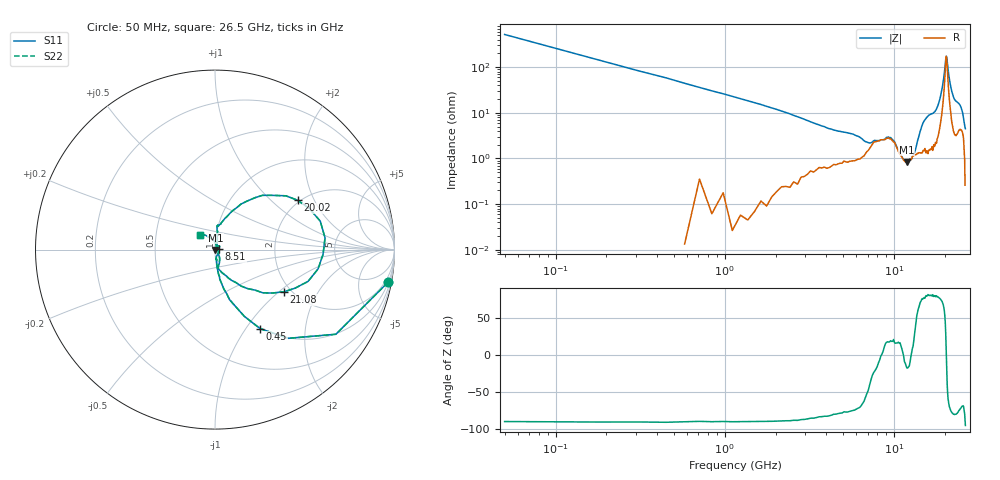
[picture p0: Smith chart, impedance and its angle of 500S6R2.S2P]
!  American Technical Ceramics  Date:  3/6/98
!  One Norden Lane
!  Huntington Station,  NY.  11746-2102
!  Tel:  (516) 547-5700  Fax:  (516) 547-5748
!  Part Number  500S6R2
!  Description: Broadband Microwave capacitor
!  Application:
# GHZ S DB R 50
! Freq  |S11|  S11 Ph  |S21|  S21 Ph  |S12|  S12 Ph  |S22|  S22 Ph
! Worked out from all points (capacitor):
!   201 points, 50 MHz to 26.5 GHz, reference 50 ohm
!   read as one part in series: C = 6.14 pF near 180 MHz
!   lowest |Z| = 833 mohm at 11.95 GHz (marker M1)
!   series resonance near 8.456 GHz, so ESL is about 58 pH
!   S11 on the Smith chart (normalised r, x): 50 MHz: 1, -11; 450 MHz: 0.98, -1.17; 8.51 GHz: 1.05, +0.00; 20.02 GHz: 1.94, +1.50; 21.08 GHz: 1.84, -1.08; 26.5 GHz: 0.83, +0.14
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0.05  -0.17 -10.7  -14.50 79.0  -14.50 79.0  -0.17 -10.7
0.18  -1.70 -35.0  -4.87 55.4  -4.87 55.4  -1.70 -35.0
0.45  -5.90 -60.3  -1.24 30.4  -1.24 30.4  -5.90 -60.3
2.17  -19.10 -82.4  -0.07 6.1  -0.07 6.1  -19.10 -82.4
4.55  -25.43 -81.3  -0.08 1.5  -0.08 1.5  -25.43 -81.3
8.51  -32.39 3.3  -0.23 0.0  -0.23 0.0  -32.39 3.3
8.91  -31.11 26.6  -0.23 -0.0  -0.23 -0.0  -31.11 26.6
10.37  -33.27 55.2  -0.20 0.5  -0.20 0.5  -33.27 55.2
11.29  -42.12 69.2  -0.15 0.3  -0.15 0.3  -42.12 69.2
11.69  -54.15 21.5  -0.13 0.2  -0.13 0.2  -54.15 21.5
11.95  -49.40 -52.7  -0.12 0.1  -0.12 0.1  -49.40 -52.7
13.28  -38.36 35.1  -0.12 -0.4  -0.12 -0.4  -38.36 35.1
14.99  -20.77 81.5  -0.20 -1.6  -0.20 -1.6  -20.77 81.5
17.77  -17.23 80.1  -0.34 -4.7  -0.34 -4.7  -17.23 80.1
20.02  -5.42 30.9  -4.81 -23.8  -4.81 -23.8  -5.42 30.9
20.42  -4.20 6.1  -8.96 -0.8  -8.96 -0.8  -4.20 6.1
21.08  -6.92 -31.4  -3.44 31.6  -3.44 31.6  -6.92 -31.4
22.14  -15.04 -64.5  -0.98 19.4  -0.98 19.4  -15.04 -64.5
24.52  -23.62 -67.1  -0.66 12.7  -0.66 12.7  -23.62 -67.1
25.31  -36.23 32.6  -0.57 12.4  -0.57 12.4  -36.23 32.6
25.71  -26.73 93.6  -0.51 12.0  -0.51 12.0  -26.73 93.6
26.5  -18.48 135.2  -0.58 10.8  -0.58 10.8  -18.48 135.2
